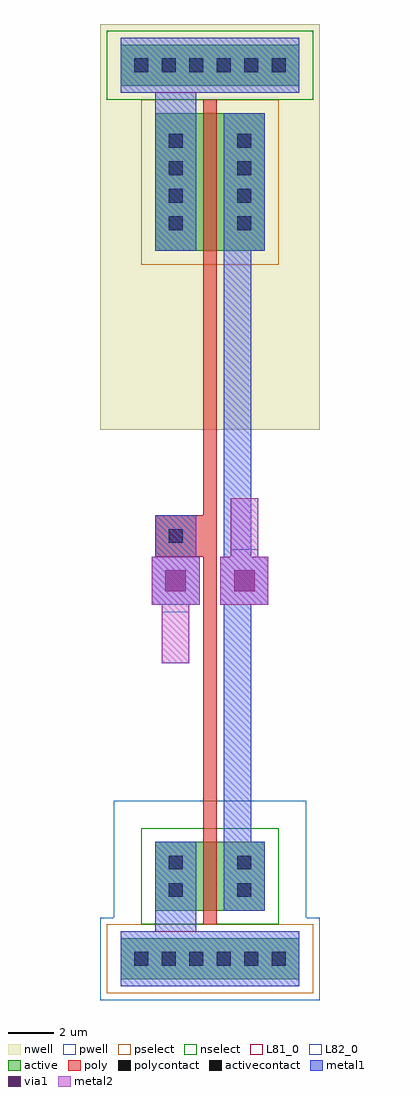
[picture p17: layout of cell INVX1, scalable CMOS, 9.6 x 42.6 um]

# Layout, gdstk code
import gdstk
lib = gdstk.Library(unit=1e-6, precision=1e-09)
def R(c, l, rs):  # rectangles x0, y0, x1, y1
    for r in rs: c.add(gdstk.rectangle(r[:2], r[2:], *l))
def A(c, l, x, y, w, h, nx, ny, dx, dy):  # array of equal rectangles
    R(c, l, [(x+i*dx, y+j*dy, x+i*dx+w, y+j*dy+h) for i in range(nx) for j in range(ny)])
pwell = (41, 0)
nwell = (42, 0)
active = (43, 0)
pselect = (44, 0)
nselect = (45, 0)
poly = (46, 0)
polycontact = (47, 0)
activecontact = (48, 0)
metal1 = (49, 0)
via1 = (50, 0)
metal2 = (51, 0)
L81_0 = (81, 0)
L82_0 = (82, 0)

invx1 = lib.new_cell('INVX1')
R(invx1, pwell, [(-1.8,-1.8,7.8,1.8), (-1.2,1.8,7.2,6.9)])
R(invx1, nwell, [(-1.8,23.1,7.8,40.8)])
R(invx1, active, [(-0.9,-0.9,6.9,0.9), (0.6,2.1,5.4,5.1), (0.6,30.9,5.4,36.9), (-0.9,38.1,6.9,39.9)])
R(invx1, pselect, [(-1.5,-1.5,7.5,1.5), (0,30.3,6,37.5)])
R(invx1, nselect, [(0,1.5,6,5.7), (-1.5,37.5,7.5,40.5)])
R(invx1, poly, [(2.7,1.5,3.3,17.55), (0.6,17.55,3.3,19.35), (2.7,19.35,3.3,37.5)])
R(invx1, polycontact, [(1.2,18.15,1.8,18.75)])
A(invx1, activecontact, -0.3, -0.3, 0.6, 0.6, 6, 2, 1.2, 39)
A(invx1, activecontact, 1.2, 31.8, 0.6, 0.6, 1, 4, 0, 1.2)
A(invx1, activecontact, 4.2, 31.8, 0.6, 0.6, 1, 4, 0, 1.2)
R(invx1, activecontact, [(1.2,2.7,1.8,3.3), (4.2,2.7,4.8,3.3), (1.2,3.9,1.8,4.5), (4.2,3.9,4.8,4.5)])
R(invx1, metal1, [(-0.9,-1.2,6.9,1.2), (0.6,1.2,2.4,5.1), (3.6,2.1,5.4,5.1), (3.6,5.1,4.8,15.45), (0.45,15.45,2.55,17.55), (3.45,15.45,5.55,17.55), (0.6,17.55,2.4,19.35), (3.6,17.55,4.8,30.9), (0.6,30.9,2.4,37.8), (3.6,30.9,5.4,36.9), (-0.9,37.8,6.9,40.2)])
R(invx1, via1, [(1.05,16.05,1.95,16.95), (4.05,16.05,4.95,16.95)])
R(invx1, metal2, [(0.9,12.9,2.1,15.45), (0.45,15.45,2.55,17.55), (3.45,15.45,5.55,17.55), (3.9,17.55,5.1,20.1)])
R(invx1, L81_0, [(-0.9,-1.2,6.9,1.2), (-0.9,37.8,6.9,40.2)])
R(invx1, L82_0, [(0.9,12.9,2.1,15.15), (3.9,17.85,5.1,20.1)])

lib.write_gds('INVX1.gds')
